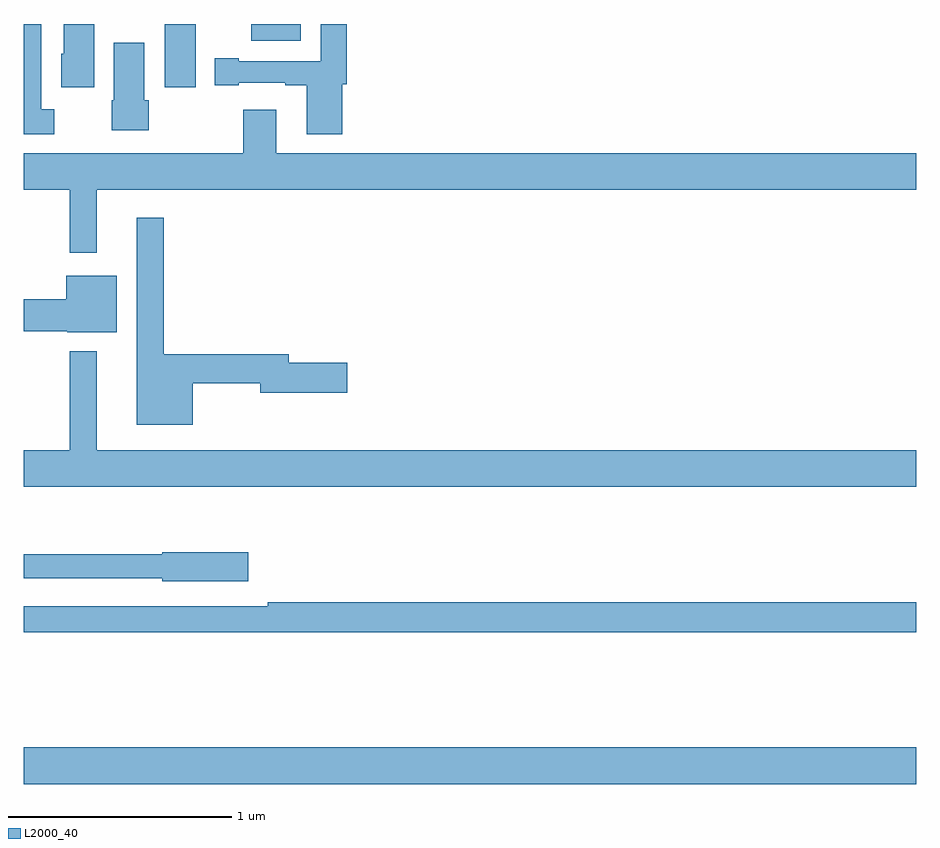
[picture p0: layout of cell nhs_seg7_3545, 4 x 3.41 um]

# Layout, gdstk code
import gdstk
lib = gdstk.Library(unit=1e-6, precision=1e-09)
def R(c, l, rs):  # rectangles x0, y0, x1, y1
    for r in rs: c.add(gdstk.rectangle(r[:2], r[2:], *l))
def P(c, l, *ps):  # polygons
    for p in ps: c.add(gdstk.Polygon(p, *l))
L2000_40 = (2000, 40)

nhs_seg7_3545 = lib.new_cell('nhs_seg7_3545')
R(nhs_seg7_3545, L2000_40, [(337,1024.592,341,1024.756), (337.631,1027.716,337.771,1028), (338.018,1027.925,338.242,1028)])
P(nhs_seg7_3545, L2000_40, [(338.428,1027.73),(338.447,1027.73),(338.447,1028),(338.331,1028),(338.331,1027.833),(337.963,1027.833),(337.963,1027.846),(337.856,1027.846),(337.856,1027.725),(337.963,1027.725),(337.963,1027.737),(338.171,1027.737),(338.171,1027.725),(338.267,1027.725),(338.267,1027.506),(338.428,1027.506)],
  [(337.135,1027.618),(337.078,1027.618),(337.078,1028),(337,1028),(337,1027.505),(337.135,1027.505)],
  [(337.315,1028),(337.178,1028),(337.178,1027.866),(337.166,1027.866),(337.166,1027.716),(337.315,1027.716)],
  [(337.56,1027.659),(337.54,1027.659),(337.54,1027.915),(337.403,1027.915),(337.403,1027.659),(337.394,1027.659),(337.394,1027.523),(337.56,1027.523)],
  [(337.327,1027.256),(341,1027.256),(341,1027.42),(338.131,1027.42),(338.131,1027.615),(337.984,1027.615),(337.984,1027.42),(337,1027.42),(337,1027.256),(337.206,1027.256),(337.206,1026.975),(337.327,1026.975)],
  [(337.756,1026.39),(338.06,1026.39),(338.06,1026.347),(338.449,1026.347),(338.449,1026.482),(338.188,1026.482),(338.188,1026.518),(337.627,1026.518),(337.627,1027.132),(337.505,1027.132),(337.505,1026.203),(337.756,1026.203)],
  [(337.417,1026.871),(337.19,1026.871),(337.19,1026.765),(337,1026.765),(337,1026.623),(337.194,1026.623),(337.194,1026.617),(337.417,1026.617)],
  [(341,1026.088),(337.327,1026.088),(337.327,1026.532),(337.206,1026.532),(337.206,1026.088),(337,1026.088),(337,1025.924),(341,1025.924)],
  [(338.005,1025.631),(337.62,1025.631),(337.62,1025.623),(337,1025.623),(337,1025.514),(337.62,1025.514),(337.62,1025.501),(338.005,1025.501)],
  [(341,1025.408),(338.092,1025.408),(338.092,1025.388),(337,1025.388),(337,1025.272),(341,1025.272)])

lib.write_gds('nhs_seg7_3545.gds')
